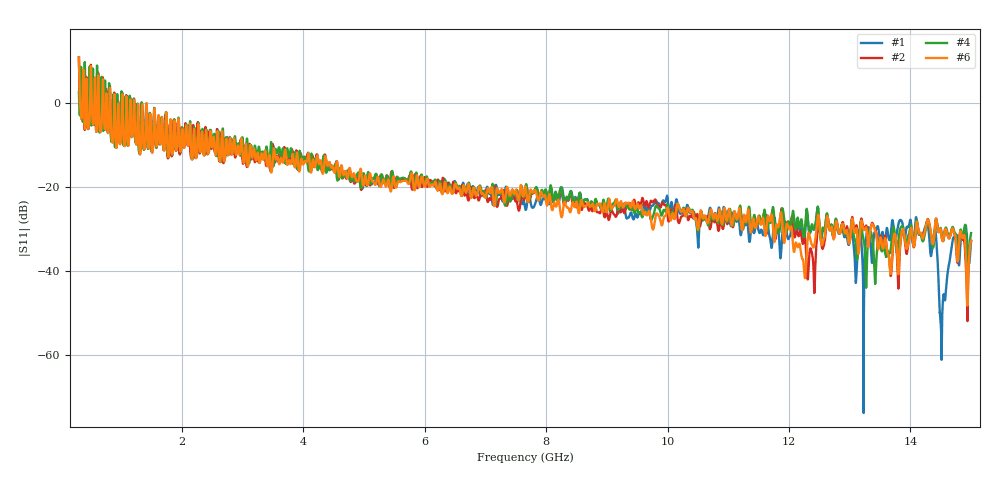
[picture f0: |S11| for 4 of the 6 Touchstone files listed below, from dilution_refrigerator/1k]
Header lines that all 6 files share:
# GHZ S RI R 50.0
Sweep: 300 MHz to 15 GHz
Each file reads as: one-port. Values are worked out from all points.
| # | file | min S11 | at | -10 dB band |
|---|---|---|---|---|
| 1 | port1_1k.s1p | -73.9 dB | 13.23 GHz | over 11.88 GHz wide |
| 2 | port2_1k.s1p | -52.0 dB | 14.94 GHz | over 11.5 GHz wide |
| 3 | port2_1k_repeat1.s1p | -52.0 dB | 14.94 GHz | over 11.5 GHz wide |
| 4 | port5_1k.s1p | -44.1 dB | 13.27 GHz | over 11.53 GHz wide |
| 5 | port5_1k_repeat1.s1p | -44.1 dB | 13.27 GHz | over 11.53 GHz wide |
| 6 | port6_1k_repeat1.s1p | -48.3 dB | 14.94 GHz | over 11.88 GHz wide |
